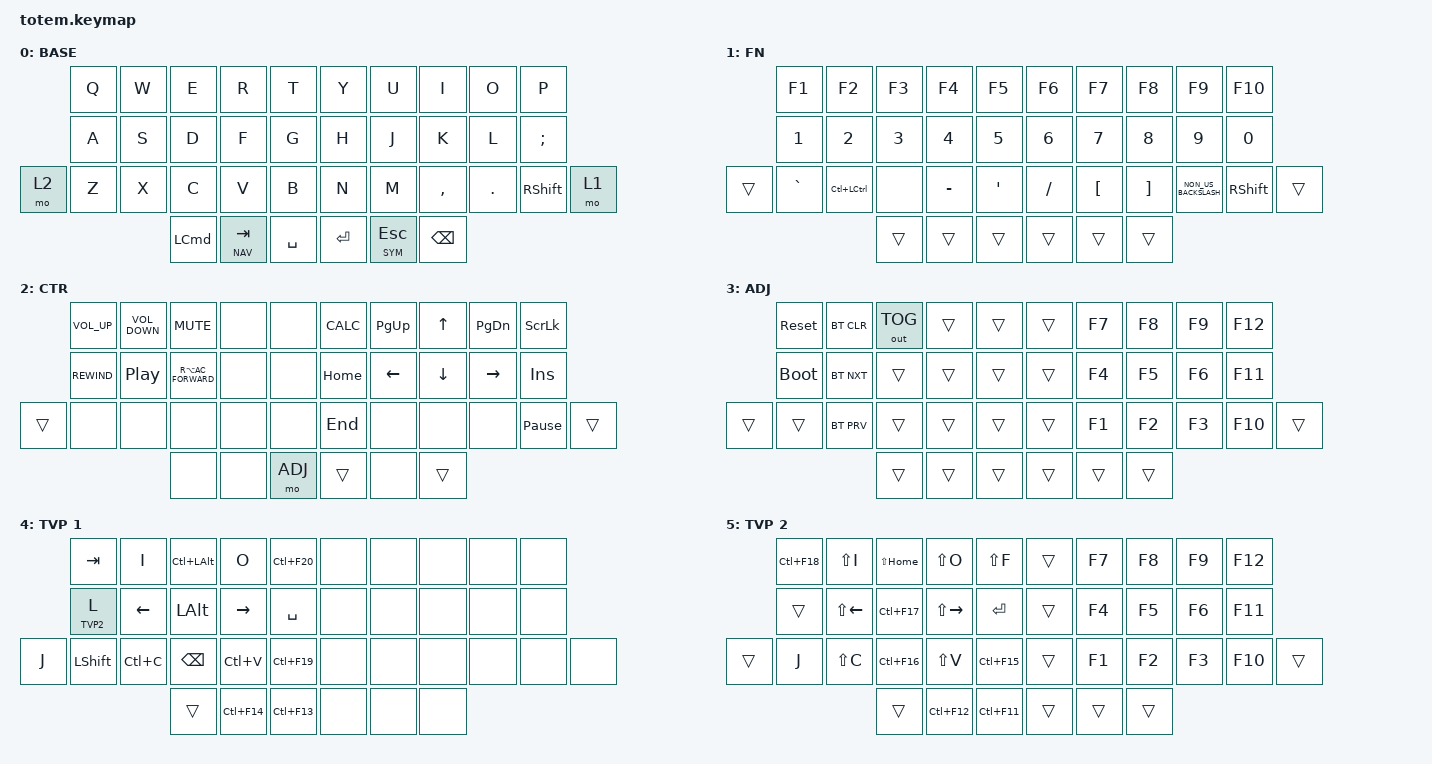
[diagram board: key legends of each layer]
//
//                                                        ▀▀▀▀▀     ▀▀▀▀▀          ▀▀█▀▀
//                                                        ▄▀▀▀▄  ▄  ▄▀▀▀▄  ▄  ▄▀▀▀▄  █  ▄▀▀▀▄
//                                                        █   █  █  █   █  █  █   █  █  █   █
//                                                         ▀▀▀   █   ▀▀▀   █   ▀▀▀   ▀   ▀▀▀
//                                                               █      ▄▄▄█▄▄▄    █   █  
//                                                               ▀      █  █  █     █▄█
//                                                             ▀▀▀▀▀    █  █  █      ▀
//                                                                      ▀  ▀  ▀
//
// ▄▄▄▄▄▄▄▄▄▄▄▄▄▄▄▄▄▄▄▄▄▄▄▄▄▄▄▄▄▄▄▄▄▄▄▄▄▄▄▄▄▄▄▄▄▄▄▄▄▄▄▄▄▄▄▄▄▄▄▄▄▄▄▄▄▄▄▄▄▄▄▄▄▄▄▄▄▄▄▄▄▄▄▄▄▄▄▄▄▄▄▄▄▄▄▄▄▄▄▄▄▄▄▄▄▄▄▄▄▄▄▄▄▄▄▄▄▄▄▄▄▄▄▄▄▄▄▄▄▄▄▄▄▄▄▄▄▄▄▄▄▄▄▄▄▄▄▄▄

#include <behaviors.dtsi>
#include <dt-bindings/zmk/bt.h>
#include <dt-bindings/zmk/keys.h>
#include <dt-bindings/zmk/outputs.h>

#define BASE 0
#define NAV  1
#define SYM  2
#define ADJ  3
#define TVP1 4
#define TVP2 5

&mt {
    quick-tap-ms = <100>;
    global-quick-tap;
    flavor = "tap-preferred";
    tapping-term-ms = <170>;
};

/ {
    combos {
        compatible = "zmk,combos";

        combo_esc {
            timeout-ms = <50>;
            key-positions = <0 1>;
            bindings = <&kp ESC>;
        };

        combo_tvp {
            timeout-ms = <100>;
            key-positions = <11 12 13>;
            bindings = <&tog TVP1>;
        };
    };

    macros {
        gif: gif {
            label = "giphy";
            compatible = "zmk,behavior-macro";
            #binding-cells = <0>;
            bindings =
                <&macro_press>,
                <&kp LSHFT>,
                <&macro_tap>,
                <&kp N2>,
                <&macro_release>,
                <&kp LSHFT>,
                <&macro_tap>,
                <&kp G &kp I &kp F>;
        };
    };

    keymap {
        compatible = "zmk,keymap";

        // ▄▄▄▄▄▄▄▄▄▄▄▄▄▄▄▄▄▄▄▄▄▄▄▄▄▄▄▄▄▄▄▄▄▄▄▄▄▄▄▄▄▄▄▄▄▄▄▄▄▄▄▄▄▄▄▄▄▄▄▄▄▄▄▄▄▄▄▄▄▄▄▄▄▄▄▄▄▄▄▄▄▄▄▄▄▄▄▄▄▄▄▄▄▄▄▄▄▄▄▄▄▄▄▄▄▄▄▄▄▄▄▄▄▄▄▄▄▄▄▄▄▄▄▄▄▄▄▄▄▄▄▄▄▄▄▄▄▄▄▄▄▄▄▄▄▄▄▄▄

        base_layer {
            // ┏━━━━━━━━━━━━━━━━━━━━━━━━━━━━━━━━━━━━━━━┓

            label = "BASE";

            // ┗━━━━━━━━━━━━━━━━━━━━━━━━━━━━━━━━━━━━━━━┛
            //             ┏━━━━━━━━━━━┳━━━━━━━━━━━┳━━━━━━━━━━━┳━━━━━━━━━━━┳━━━━━━━━━━━┓   ┏━━━━━━━━━━━┳━━━━━━━━━━━┳━━━━━━━━━━━┳━━━━━━━━━━━┳━━━━━━━━━━━┓
            //             ┃     Q     ┃     W     ┃     F     ┃     P     ┃     G     ┃   ┃     J     ┃     L     ┃     U     ┃     Y     ┃     ;     ┃
            //             ┣━━━━━━━━━━━╋━━━━━━━━━━━╋━━━━━━━━━━━╋━━━━━━━━━━━╋━━━━━━━━━━━┫   ┣━━━━━━━━━━━╋━━━━━━━━━━━╋━━━━━━━━━━━╋━━━━━━━━━━━╋━━━━━━━━━━━┫
            //             ┃     A     ┃     R     ┃     S     ┃     T     ┃     D     ┃   ┃     H     ┃     N     ┃     E     ┃     I     ┃     O     ┃
            // ┏━━━━━━━━━━━╋━━━━━━━━━━━╋━━━━━━━━━━━╋━━━━━━━━━━━╋━━━━━━━━━━━╋━━━━━━━━━━━┫   ┣━━━━━━━━━━━╋━━━━━━━━━━━╋━━━━━━━━━━━╋━━━━━━━━━━━╋━━━━━━━━━━━╋━━━━━━━━━━━┓
            // ┃     Q     ┃     Z     ┃     X     ┃     C     ┃     V     ┃     B     ┃   ┃     K     ┃     M     ┃     ,     ┃     .     ┃     /     ┃     \     ┃
            // ┗━━━━━━━━━━━┻━━━━━━━━━━━┻━━━━━━━━━━━╋━━━━━━━━━━━╋━━━━━━━━━━━╋━━━━━━━━━━━┫   ┣━━━━━━━━━━━╋━━━━━━━━━━━╋━━━━━━━━━━━╋━━━━━━━━━━━┻━━━━━━━━━━━┻━━━━━━━━━━━┛
            //                                     ┃    DEL    ┃    TAB    ┃    SPC    ┃   ┃   ENTER   ┃           ┃   BSPC    ┃
            //                                     ┗━━━━━━━━━━━┻━━━━━━━━━━━┻━━━━━━━━━━━┛   ┗━━━━━━━━━━━┻━━━━━━━━━━━┻━━━━━━━━━━━┛

            bindings = <
       &kp Q  &kp W  &kp E             &kp R        &kp T        &kp Y    &kp U        &kp I          &kp O    &kp P
       &kp A  &kp S  &kp D             &kp F        &kp G        &kp H    &kp J        &kp K          &kp L    &kp SEMICOLON
&mo 2  &kp Z  &kp X  &kp C             &kp V        &kp B        &kp N    &kp M        &kp COMMA      &kp DOT  &kp RIGHT_SHIFT  &mo 1
                     &kp LEFT_COMMAND  &lt NAV TAB  &kp SPACE    &kp RET  &lt SYM ESC  &kp BACKSPACE
            >;
        };

        // ▄▄▄▄▄▄▄▄▄▄▄▄▄▄▄▄▄▄▄▄▄▄▄▄▄▄▄▄▄▄▄▄▄▄▄▄▄▄▄▄▄▄▄▄▄▄▄▄▄▄▄▄▄▄▄▄▄▄▄▄▄▄▄▄▄▄▄▄▄▄▄▄▄▄▄▄▄▄▄▄▄▄▄▄▄▄▄▄▄▄▄▄▄▄▄▄▄▄▄▄▄▄▄▄▄▄▄▄▄▄▄▄▄▄▄▄▄▄▄▄▄▄▄▄▄▄▄▄▄▄▄▄▄▄▄▄▄▄▄▄▄▄▄▄▄▄▄▄▄

        fn_layer {
            // ┏━━━━━━━━━━━━━━━━━━━━━━━━━━━━━━━━━━━━━━━┓

            label = "FN";

            // ┗━━━━━━━━━━━━━━━━━━━━━━━━━━━━━━━━━━━━━━━┛
            //             ┏━━━━━━━━━━━┳━━━━━━━━━━━┳━━━━━━━━━━━┳━━━━━━━━━━━┳━━━━━━━━━━━┓   ┏━━━━━━━━━━━┳━━━━━━━━━━━┳━━━━━━━━━━━┳━━━━━━━━━━━┳━━━━━━━━━━━┓
            //             ┃           ┃           ┃     UP    ┃           ┃     {     ┃   ┃     }     ┃     7     ┃     8     ┃     9     ┃     +     ┃
            //             ┣━━━━━━━━━━━╋━━━━━━━━━━━╋━━━━━━━━━━━╋━━━━━━━━━━━╋━━━━━━━━━━━┫   ┣━━━━━━━━━━━╋━━━━━━━━━━━╋━━━━━━━━━━━╋━━━━━━━━━━━╋━━━━━━━━━━━┫
            //             ┃   SHIFT   ┃   LEFT    ┃    DOWN   ┃   RIGHT   ┃     [     ┃   ┃     ]     ┃     4     ┃     5     ┃     6     ┃     -     ┃
            // ┏━━━━━━━━━━━╋━━━━━━━━━━━╋━━━━━━━━━━━╋━━━━━━━━━━━╋━━━━━━━━━━━╋━━━━━━━━━━━┫   ┣━━━━━━━━━━━╋━━━━━━━━━━━╋━━━━━━━━━━━╋━━━━━━━━━━━╋━━━━━━━━━━━╋━━━━━━━━━━━┓
            // ┃           ┃           ┃   P UP    ┃  C LOCK   ┃  P DOWN   ┃     (     ┃   ┃     )     ┃     1     ┃     2     ┃     3     ┃     *     ┃           ┃
            // ┗━━━━━━━━━━━┻━━━━━━━━━━━┻━━━━━━━━━━━╋━━━━━━━━━━━╋━━━━━━━━━━━╋━━━━━━━━━━━┫   ┣━━━━━━━━━━━╋━━━━━━━━━━━╋━━━━━━━━━━━╋━━━━━━━━━━━┻━━━━━━━━━━━┻━━━━━━━━━━━┛
            //                                     ┃           ┃    TAB    ┃    SPC    ┃   ┃    DEL    ┃     0     ┃           ┃
            //                                     ┗━━━━━━━━━━━┻━━━━━━━━━━━┻━━━━━━━━━━━┛   ┗━━━━━━━━━━━┻━━━━━━━━━━━┻━━━━━━━━━━━┛

            bindings = <
        &kp F1        &kp F2         &kp F3        &kp F4        &kp F5     &kp F6        &kp F7            &kp F8             &kp F9                &kp F10
        &kp NUMBER_1  &kp NUMBER_2   &kp NUMBER_3  &kp NUMBER_4  &kp N5     &kp NUMBER_6  &kp N7            &kp N8             &kp N9                &kp N0
&trans  &kp GRAVE     &kp LC(LCTRL)  &none         &kp MINUS     &kp SQT    &kp SLASH     &kp LEFT_BRACKET  &kp RIGHT_BRACKET  &kp NON_US_BACKSLASH  &kp RIGHT_SHIFT  &trans
                                     &trans        &trans        &trans     &trans        &trans            &trans
            >;
        };

        // ▄▄▄▄▄▄▄▄▄▄▄▄▄▄▄▄▄▄▄▄▄▄▄▄▄▄▄▄▄▄▄▄▄▄▄▄▄▄▄▄▄▄▄▄▄▄▄▄▄▄▄▄▄▄▄▄▄▄▄▄▄▄▄▄▄▄▄▄▄▄▄▄▄▄▄▄▄▄▄▄▄▄▄▄▄▄▄▄▄▄▄▄▄▄▄▄▄▄▄▄▄▄▄▄▄▄▄▄▄▄▄▄▄▄▄▄▄▄▄▄▄▄▄▄▄▄▄▄▄▄▄▄▄▄▄▄▄▄▄▄▄▄▄▄▄▄▄▄▄

        ctr_layer {
            // ┏━━━━━━━━━━━━━━━━━━━━━━━━━━━━━━━━━━━━━━━┓

            label = "CTR";

            // ┗━━━━━━━━━━━━━━━━━━━━━━━━━━━━━━━━━━━━━━━┛
            //             ┏━━━━━━━━━━━┳━━━━━━━━━━━┳━━━━━━━━━━━┳━━━━━━━━━━━┳━━━━━━━━━━━┓   ┏━━━━━━━━━━━┳━━━━━━━━━━━┳━━━━━━━━━━━┳━━━━━━━━━━━┳━━━━━━━━━━━┓
            //             ┃     !     ┃     @     ┃     #     ┃     $     ┃     %     ┃   ┃     ˆ     ┃     &     ┃     Ü     ┃     '     ┃     "     ┃
            //             ┣━━━━━━━━━━━╋━━━━━━━━━━━╋━━━━━━━━━━━╋━━━━━━━━━━━╋━━━━━━━━━━━┫   ┣━━━━━━━━━━━╋━━━━━━━━━━━╋━━━━━━━━━━━╋━━━━━━━━━━━╋━━━━━━━━━━━┫
            //             ┃     Ä     ┃           ┃    SZ     ┃           ┃           ┃   ┃   MUTE    ┃   YEN     ┃   EURO    ┃  POUND    ┃     Ö     ┃
            // ┏━━━━━━━━━━━╋━━━━━━━━━━━╋━━━━━━━━━━━╋━━━━━━━━━━━╋━━━━━━━━━━━╋━━━━━━━━━━━┫   ┣━━━━━━━━━━━╋━━━━━━━━━━━╋━━━━━━━━━━━╋━━━━━━━━━━━╋━━━━━━━━━━━╋━━━━━━━━━━━┓
            // ┃           ┃  EMAIL1   ┃  EMAIL2   ┃           ┃           ┃           ┃   ┃   VOL-    ┃   VOL+    ┃   LAST    ┃   NEXT    ┃     \     ┃           ┃
            // ┗━━━━━━━━━━━┻━━━━━━━━━━━┻━━━━━━━━━━━╋━━━━━━━━━━━╋━━━━━━━━━━━╋━━━━━━━━━━━┫   ┣━━━━━━━━━━━╋━━━━━━━━━━━╋━━━━━━━━━━━╋━━━━━━━━━━━┻━━━━━━━━━━━┻━━━━━━━━━━━┛
            //                                     ┃           ┃    GIF    ┃    ADJ    ┃   ┃           ┃           ┃           ┃
            //                                     ┗━━━━━━━━━━━┻━━━━━━━━━━━┻━━━━━━━━━━━┛   ┗━━━━━━━━━━━┻━━━━━━━━━━━┻━━━━━━━━━━━┛

            bindings = <
        &kp C_VOLUME_UP  &kp C_VOLUME_DOWN  &kp K_MUTE            &none  &none      &kp K_CALC  &kp PAGE_UP     &kp UP_ARROW    &kp PAGE_DOWN    &kp SCROLLLOCK
        &kp C_REWIND     &kp C_PLAY_PAUSE   &kp RA(C_AC_FORWARD)  &none  &none      &kp HOME    &kp LEFT_ARROW  &kp DOWN_ARROW  &kp RIGHT_ARROW  &kp INSERT
&trans  &none            &none              &none                 &none  &none      &kp END     &none           &none           &none            &kp PAUSE_BREAK  &trans
                                            &none                 &none  &mo ADJ    &trans      &none           &trans
            >;
        };

        // ▄▄▄▄▄▄▄▄▄▄▄▄▄▄▄▄▄▄▄▄▄▄▄▄▄▄▄▄▄▄▄▄▄▄▄▄▄▄▄▄▄▄▄▄▄▄▄▄▄▄▄▄▄▄▄▄▄▄▄▄▄▄▄▄▄▄▄▄▄▄▄▄▄▄▄▄▄▄▄▄▄▄▄▄▄▄▄▄▄▄▄▄▄▄▄▄▄▄▄▄▄▄▄▄▄▄▄▄▄▄▄▄▄▄▄▄▄▄▄▄▄▄▄▄▄▄▄▄▄▄▄▄▄▄▄▄▄▄▄▄▄▄▄▄▄▄▄▄▄

        adjust_layer {
            // ┏━━━━━━━━━━━━━━━━━━━━━━━━━━━━━━━━━━━━━━━┓

            label = "ADJ";

            // ┗━━━━━━━━━━━━━━━━━━━━━━━━━━━━━━━━━━━━━━━┛
            //             ┏━━━━━━━━━━━┳━━━━━━━━━━━┳━━━━━━━━━━━┳━━━━━━━━━━━┳━━━━━━━━━━━┓   ┏━━━━━━━━━━━┳━━━━━━━━━━━┳━━━━━━━━━━━┳━━━━━━━━━━━┳━━━━━━━━━━━┓
            //             ┃   RESET   ┃ BT CLEAR  ┃  OUT TOG  ┃           ┃           ┃   ┃           ┃    F7     ┃    F8     ┃    F9     ┃    F12    ┃
            //             ┣━━━━━━━━━━━╋━━━━━━━━━━━╋━━━━━━━━━━━╋━━━━━━━━━━━╋━━━━━━━━━━━┫   ┣━━━━━━━━━━━╋━━━━━━━━━━━╋━━━━━━━━━━━╋━━━━━━━━━━━╋━━━━━━━━━━━┫
            //             ┃ BOOTLOAD  ┃ BT NEXT   ┃           ┃           ┃           ┃   ┃           ┃    F4     ┃    F5     ┃    F6     ┃    F11    ┃
            // ┏━━━━━━━━━━━╋━━━━━━━━━━━╋━━━━━━━━━━━╋━━━━━━━━━━━╋━━━━━━━━━━━╋━━━━━━━━━━━┫   ┣━━━━━━━━━━━╋━━━━━━━━━━━╋━━━━━━━━━━━╋━━━━━━━━━━━╋━━━━━━━━━━━╋━━━━━━━━━━━┓
            // ┃           ┃           ┃ BT PREV   ┃           ┃           ┃           ┃   ┃           ┃    F1     ┃    F2     ┃    F3     ┃    F10    ┃           ┃
            // ┗━━━━━━━━━━━┻━━━━━━━━━━━┻━━━━━━━━━━━╋━━━━━━━━━━━╋━━━━━━━━━━━╋━━━━━━━━━━━┫   ┣━━━━━━━━━━━╋━━━━━━━━━━━╋━━━━━━━━━━━╋━━━━━━━━━━━┻━━━━━━━━━━━┻━━━━━━━━━━━┛
            //                                     ┃           ┃           ┃           ┃   ┃           ┃           ┃           ┃
            //                                     ┗━━━━━━━━━━━┻━━━━━━━━━━━┻━━━━━━━━━━━┛   ┗━━━━━━━━━━━┻━━━━━━━━━━━┻━━━━━━━━━━━┛

            bindings = <
        &sys_reset   &bt BT_CLR  &out OUT_TOG  &trans  &trans    &trans  &kp F7  &kp F8  &kp F9  &kp F12
        &bootloader  &bt BT_NXT  &trans        &trans  &trans    &trans  &kp F4  &kp F5  &kp F6  &kp F11
&trans  &trans       &bt BT_PRV  &trans        &trans  &trans    &trans  &kp F1  &kp F2  &kp F3  &kp F10  &trans
                                 &trans        &trans  &trans    &trans  &trans  &trans
            >;
        };

        // ▄▄▄▄▄▄▄▄▄▄▄▄▄▄▄▄▄▄▄▄▄▄▄▄▄▄▄▄▄▄▄▄▄▄▄▄▄▄▄▄▄▄▄▄▄▄▄▄▄▄▄▄▄▄▄▄▄▄▄▄▄▄▄▄▄▄▄▄▄▄▄▄▄▄▄▄▄▄▄▄▄▄▄▄▄▄▄▄▄▄▄▄▄▄▄▄▄▄▄▄▄▄▄▄▄▄▄▄▄▄▄▄▄▄▄▄▄▄▄▄▄▄▄▄▄▄▄▄▄▄▄▄▄▄▄▄▄▄▄▄▄▄▄▄▄▄▄▄▄

        tvp1_layer {
            // ┏━━━━━━━━━━━━━━━━━━━━━━━━━━━━━━━━━━━━━━━┓

            label = "TVP 1";

            // ┗━━━━━━━━━━━━━━━━━━━━━━━━━━━━━━━━━━━━━━━┛
            //             ┏━━━━━━━━━━━┳━━━━━━━━━━━┳━━━━━━━━━━━┳━━━━━━━━━━━┳━━━━━━━━━━━┓   ┏━━━━━━━━━━━┳━━━━━━━━━━━┳━━━━━━━━━━━┳━━━━━━━━━━━┳━━━━━━━━━━━┓
            //             ┃ NEXT FILE ┃ MARK IN   ┃ ROTATE    ┃ MARK OUT  ┃ SHOW SNAP ┃   ┃           ┃           ┃           ┃           ┃           ┃
            //             ┣━━━━━━━━━━━╋━━━━━━━━━━━╋━━━━━━━━━━━╋━━━━━━━━━━━╋━━━━━━━━━━━┫   ┣━━━━━━━━━━━╋━━━━━━━━━━━╋━━━━━━━━━━━╋━━━━━━━━━━━╋━━━━━━━━━━━┫
            //             ┃ TVP II    ┃ LEFT      ┃ PAN       ┃ RIGHT     ┃ PLAY/FLIP ┃   ┃           ┃           ┃           ┃           ┃           ┃
            // ┏━━━━━━━━━━━╋━━━━━━━━━━━╋━━━━━━━━━━━╋━━━━━━━━━━━╋━━━━━━━━━━━╋━━━━━━━━━━━┫   ┣━━━━━━━━━━━╋━━━━━━━━━━━╋━━━━━━━━━━━╋━━━━━━━━━━━╋━━━━━━━━━━━╋━━━━━━━━━━━┓
            // ┃ FULLSCR   ┃ SHIFT     ┃ COPY      ┃ DELETE    ┃ PASTE     ┃ IMG MARK  ┃   ┃           ┃           ┃           ┃           ┃           ┃           ┃
            // ┗━━━━━━━━━━━┻━━━━━━━━━━━┻━━━━━━━━━━━╋━━━━━━━━━━━╋━━━━━━━━━━━╋━━━━━━━━━━━┫   ┣━━━━━━━━━━━╋━━━━━━━━━━━╋━━━━━━━━━━━╋━━━━━━━━━━━┻━━━━━━━━━━━┻━━━━━━━━━━━┛
            //                                     ┃           ┃ UNDO/SAVE ┃  SEL/MOV  ┃   ┃           ┃           ┃           ┃
            //                                     ┗━━━━━━━━━━━┻━━━━━━━━━━━┻━━━━━━━━━━━┛   ┗━━━━━━━━━━━┻━━━━━━━━━━━┻━━━━━━━━━━━┛

            bindings = <
       &kp TAB     &kp I      &kp LC(LALT)  &kp O        &kp LC(F20)    &none  &none  &none  &none  &none
       &lt TVP2 L  &kp LEFT   &kp LALT      &kp RIGHT    &kp SPACE      &none  &none  &none  &none  &none
&kp J  &kp LSHFT   &kp LC(C)  &kp BSPC      &kp LC(V)    &kp LC(F19)    &none  &none  &none  &none  &none  &none
                              &trans        &kp LC(F14)  &kp LC(F13)    &none  &none  &none
            >;
        };

        // ▄▄▄▄▄▄▄▄▄▄▄▄▄▄▄▄▄▄▄▄▄▄▄▄▄▄▄▄▄▄▄▄▄▄▄▄▄▄▄▄▄▄▄▄▄▄▄▄▄▄▄▄▄▄▄▄▄▄▄▄▄▄▄▄▄▄▄▄▄▄▄▄▄▄▄▄▄▄▄▄▄▄▄▄▄▄▄▄▄▄▄▄▄▄▄▄▄▄▄▄▄▄▄▄▄▄▄▄▄▄▄▄▄▄▄▄▄▄▄▄▄▄▄▄▄▄▄▄▄▄▄▄▄▄▄▄▄▄▄▄▄▄▄▄▄▄▄▄▄

        tvp2_layer {
            // ┏━━━━━━━━━━━━━━━━━━━━━━━━━━━━━━━━━━━━━━━┓

            label = "TVP 2";

            // ┗━━━━━━━━━━━━━━━━━━━━━━━━━━━━━━━━━━━━━━━┛
            //             ┏━━━━━━━━━━━┳━━━━━━━━━━━┳━━━━━━━━━━━┳━━━━━━━━━━━┳━━━━━━━━━━━┓   ┏━━━━━━━━━━━┳━━━━━━━━━━━┳━━━━━━━━━━━┳━━━━━━━━━━━┳━━━━━━━━━━━┓
            //             ┃ SOLO      ┃ TOGGLE IN ┃ RESET ROT ┃ TOGGLE OUT┃ TAKE SNAP ┃   ┃           ┃           ┃           ┃           ┃           ┃
            //             ┣━━━━━━━━━━━╋━━━━━━━━━━━╋━━━━━━━━━━━╋━━━━━━━━━━━╋━━━━━━━━━━━┫   ┣━━━━━━━━━━━╋━━━━━━━━━━━╋━━━━━━━━━━━╋━━━━━━━━━━━╋━━━━━━━━━━━┫
            //             ┃ ---       ┃ LAST KEY  ┃ NEW KEY   ┃ NEXT KEY  ┃ ENTER     ┃   ┃           ┃           ┃           ┃           ┃           ┃
            // ┏━━━━━━━━━━━╋━━━━━━━━━━━╋━━━━━━━━━━━╋━━━━━━━━━━━╋━━━━━━━━━━━╋━━━━━━━━━━━┫   ┣━━━━━━━━━━━╋━━━━━━━━━━━╋━━━━━━━━━━━╋━━━━━━━━━━━╋━━━━━━━━━━━╋━━━━━━━━━━━┓
            // ┃           ┃ FULLSCR   ┃ CPY2BRUSH ┃ DEL HEAD  ┃ PSTinPLACE┃ BOOK MARK ┃   ┃           ┃           ┃           ┃           ┃           ┃           ┃
            // ┗━━━━━━━━━━━┻━━━━━━━━━━━┻━━━━━━━━━━━╋━━━━━━━━━━━╋━━━━━━━━━━━╋━━━━━━━━━━━┫   ┣━━━━━━━━━━━╋━━━━━━━━━━━╋━━━━━━━━━━━╋━━━━━━━━━━━┻━━━━━━━━━━━┻━━━━━━━━━━━┛
            //                                     ┃           ┃ REDO/SAV1 ┃TRANS/WARP ┃   ┃           ┃           ┃           ┃
            //                                     ┗━━━━━━━━━━━┻━━━━━━━━━━━┻━━━━━━━━━━━┛   ┗━━━━━━━━━━━┻━━━━━━━━━━━┻━━━━━━━━━━━┛

            bindings = <
        &kp LC(F18)  &kp LS(I)     &kp LS(HOME)  &kp LS(O)      &kp LS(F)      &trans  &kp F7  &kp F8  &kp F9  &kp F12
        &trans       &kp LS(LEFT)  &kp LC(F17)   &kp LS(RIGHT)  &kp RET        &trans  &kp F4  &kp F5  &kp F6  &kp F11
&trans  &kp J        &kp LS(C)     &kp LC(F16)   &kp LS(V)      &kp LC(F15)    &trans  &kp F1  &kp F2  &kp F3  &kp F10  &trans
                                   &trans        &kp LC(F12)    &kp LC(F11)    &trans  &trans  &trans
            >;
        };
    };
};
